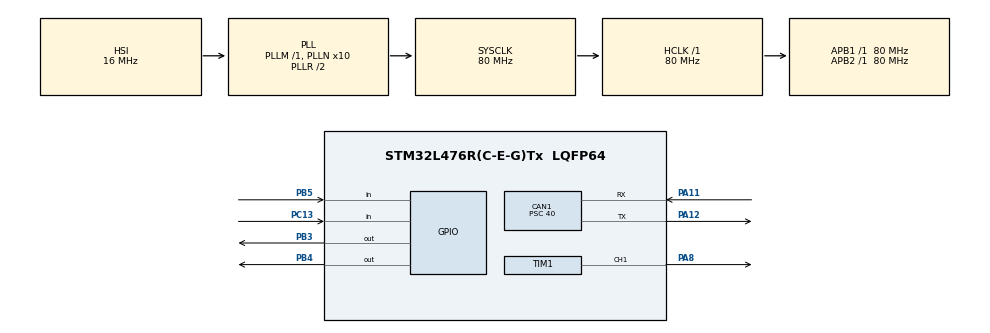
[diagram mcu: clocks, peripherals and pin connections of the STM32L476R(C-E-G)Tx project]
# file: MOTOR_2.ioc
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CAN1.BS1=CAN_BS1_2TQ
CAN1.BS2=CAN_BS2_1TQ
CAN1.CalculateBaudRate=500000
CAN1.CalculateTimeBit=2000.00
CAN1.CalculateTimeQuantum=500.0
CAN1.Prescaler=40
Dma.Request0=TIM1_CH1
Dma.TIM1_CH1.0.Direction=DMA_MEMORY_TO_PERIPH
Dma.TIM1_CH1.0.Instance=DMA1_Channel2
Dma.TIM1_CH1.0.MemDataAlignment=DMA_MDATAALIGN_HALFWORD
Dma.TIM1_CH1.0.MemInc=DMA_MINC_ENABLE
Dma.TIM1_CH1.0.Mode=DMA_NORMAL
Dma.TIM1_CH1.0.PeriphDataAlignment=DMA_PDATAALIGN_HALFWORD
Dma.TIM1_CH1.0.PeriphInc=DMA_PINC_DISABLE
Dma.TIM1_CH1.0.Priority=DMA_PRIORITY_LOW
FREERTOS.Mutexes01=SimpMUTEX,Dynamic,NULL
FREERTOS.Tasks01=defaultTask,0,128,StartDefaultTask,Default,NULL,Dynamic,NULL,NULL;LPT,-1,128,StartLPT,Default,NULL,Dynamic,NULL,NULL;HPT,1,128,StartHPT,Default,NULL,Dynamic,NULL,NULL
Mcu.Family=STM32L4
Mcu.Name=STM32L476R(C-E-G)Tx
Mcu.Package=LQFP64
NVIC.CAN1_RX0_IRQn=true\:5\:0\:false\:false\:true\:true\:true\:true
NVIC.CAN1_RX1_IRQn=true\:5\:0\:false\:false\:true\:true\:true\:true
NVIC.DMA1_Channel2_IRQn=true\:5\:0\:false\:false\:true\:true\:false\:true
NVIC.PriorityGroup=NVIC_PRIORITYGROUP_4
NVIC.TIM6_DAC_IRQn=true\:0\:0\:false\:false\:true\:false\:false\:true
NVIC.TimeBase=TIM6_DAC_IRQn
NVIC.TimeBaseIP=TIM6
PA11.Mode=CAN_Activate
PA11.Signal=CAN1_RX
PA12.Mode=CAN_Activate
PA12.Signal=CAN1_TX
PA13\ (JTMS-SWDIO).Mode=Serial_Wire
PA13\ (JTMS-SWDIO).Signal=SYS_JTMS-SWDIO
PA14\ (JTCK-SWCLK).Mode=Serial_Wire
PA14\ (JTCK-SWCLK).Signal=SYS_JTCK-SWCLK
PA8.Signal=S_TIM1_CH1
PB3\ (JTDO-TRACESWO).Signal=GPIO_Output
PB4\ (NJTRST).Signal=GPIO_Output
PB5.Signal=GPIO_Input
PC13.Signal=GPIO_Input
ProjectManager.HeapSize=0x200
ProjectManager.StackSize=0x400
ProjectManager.TargetToolchain=TrueSTUDIO
RCC.ADCFreq_Value=64000000
RCC.AHBFreq_Value=80000000
RCC.APB1Freq_Value=80000000
RCC.APB1TimFreq_Value=80000000
RCC.APB2Freq_Value=80000000
RCC.APB2TimFreq_Value=80000000
RCC.CortexFreq_Value=80000000
RCC.HCLKFreq_Value=80000000
RCC.HSE_VALUE=8000000
RCC.HSI_VALUE=16000000
RCC.LSE_VALUE=32768
RCC.MSI_VALUE=4000000
RCC.PLLN=10
RCC.PLLSourceVirtual=RCC_PLLSOURCE_HSI
RCC.SYSCLKFreq_VALUE=80000000
RCC.SYSCLKSource=RCC_SYSCLKSOURCE_PLLCLK
RCC.USBFreq_Value=64000000
RCC.VCOOutputFreq_Value=160000000
SH.S_TIM1_CH1.0=TIM1_CH1,PWM Generation1 CH1
TIM1.Channel-PWM\ Generation1\ CH1=TIM_CHANNEL_1
TIM1.Period=100-1
VP_FREERTOS_VS_CMSIS_V1.Mode=CMSIS_V1
VP_SYS_VS_tim6.Mode=TIM6
VP_TIM1_VS_ClockSourceINT.Mode=Internal
board=custom

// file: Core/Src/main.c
/* USER CODE BEGIN Header */
/**
  ******************************************************************************
  * @file           : main.c
  * @brief          : Main program body
  ******************************************************************************
  * @attention
  *
  * <h2><center>&copy; Copyright (c) 2021 STMicroelectronics.
  * All rights reserved.</center></h2>
  *
  * This software component is licensed by ST under Ultimate Liberty license
  * SLA0044, the "License"; You may not use this file except in compliance with
  * the License. You may obtain a copy of the License at:
  *                             www.st.com/SLA0044
  *
  ******************************************************************************
  */
/* USER CODE END Header */
#include "main.h"
#include "cmsis_os.h"

/* USER CODE BEGIN Includes */
#include "stdio.h"

/* USER CODE END Includes */

CAN_HandleTypeDef hcan1;

TIM_HandleTypeDef htim1;
DMA_HandleTypeDef hdma_tim1_ch1;

osThreadId defaultTaskHandle;
osThreadId LPTHandle;
osThreadId HPTHandle;
osMutexId SimpMUTEXHandle;

void SystemClock_Config(void);
static void MX_GPIO_Init(void);
static void MX_DMA_Init(void);
static void MX_CAN1_Init(void);
static void MX_TIM1_Init(void);
void StartDefaultTask(void const * argument);
void StartLPT(void const * argument);
void StartHPT(void const * argument);

/* USER CODE BEGIN 0 */
//==================CAN==========================================================================================================
CAN_TxHeaderTypeDef TxHeader;
CAN_RxHeaderTypeDef RxHeader;
uint32_t TxMailbox;
uint8_t TxData[8];
uint8_t RxData[8];

uint16_t CAN_ID = 0x001;//這塊板子的ID
int datacheck = 0;
int CAN_Neopixel = 0;
int CAN_Motor = 0;

void HAL_CAN_RxFifo0MsgPendingCallback(CAN_HandleTypeDef *hcan)
{
	if (HAL_CAN_GetRxMessage(hcan, CAN_RX_FIFO0, &RxHeader, RxData) != HAL_OK)
		  {
			  //HAL_UART_Transmit(&huart2, (uint8_t *)"Receiving Data Failed\r\n\r\n", 24, 1000);
		      Error_Handler();
		  }
	 int error_message = 0;
		  if (RxHeader.StdId == CAN_ID && RxData[1] == 0x1A) //接收到資料(一對一)
		  {
			  if(RxData[2] == 0x03 && RxData[3] >= 0x00 && RxData[3] <= 0x03 && RxData[4] >= 0x00 && RxData[4] <= 0x07)//檢查第一組資料是否正確
			  {
				  CAN_Neopixel = 1;
			  }
			  else if(RxData[2] == 0x02 && RxData[3] == 0x00 && RxData[4] >= 0x00 && RxData[4] <= 0x01)//檢查第一組資料(抽屜門)
			  {
				  CAN_Motor = 1;
			  }
			  else if(RxData[2] == 0x00 && RxData[3] == 0x00 && RxData[4] == 0x00)
			  {
			  }
			  else
			  {
				  error_message++;
			  }
			  if(RxData[5] == 0x03 && RxData[6] >= 0x00 && RxData[6] <= 0x03 && RxData[7] >= 0x00 && RxData[7] <= 0x07)//檢查第一組資料是否正確
			  {
				  CAN_Neopixel = 2;
			  }
			  else if(RxData[5] == 0x02 && RxData[6] == 0x00 && RxData[7] >= 0x00 && RxData[7] <= 0x01)//檢查第一組資料(抽屜門)
			  {
				  CAN_Motor = 2;
			  }
			  else if(RxData[5] == 0x00 && RxData[6] == 0x00 && RxData[7] == 0x00)
			  {
			  }
			  else
			  {
				  error_message++;
			  }
			  TxHeader.StdId = 0x010;
			  for(int i=0; i<8; i++)
			  {
				  TxData[i]=RxData[i];
			  }
			  if(error_message>0){
				  TxData[1]=0x1C;
			  }
			  else
			  {
				  TxData[1]=0x1B;
			  }
			  if (HAL_CAN_AddTxMessage(&hcan1, &TxHeader, TxData, &TxMailbox) != HAL_OK)
			  {
				 // HAL_UART_Transmit(&huart2, (uint8_t *)"TxBackError\r\n\r\n", 15, 1000);
			     Error_Handler ();
			  }
		  }

}

void weidelay(int index)
{
	for (int i=0;i<index;i++)
	{

	}
}

//====================NeoPixel=================================================================================================
#define MAX_LED 39
#define USE_BRIGHTNESS 1
int datasentflag=0;
uint8_t LED_Data[MAX_LED][5];
uint8_t LED_Mod[MAX_LED][5];  // for brightness
uint16_t pwmData[(32*MAX_LED)+50];
int ledcolor=0;
int ledcolor_buffer=0;
int ledcolor_table[8][3]={{0,0,0},{255,255,255},{255,0,0},{0,255,0},{0,0,255},{255,0,255},{255,255,0},{0,255,255}};
int ledmode=0;
void Set_LED (int LEDnum, int Red, int Green, int Blue)
{
	LED_Data[LEDnum][0] = LEDnum;
	LED_Data[LEDnum][1] = Green;
	LED_Data[LEDnum][2] = Red;
	LED_Data[LEDnum][3] = Blue;
	LED_Data[LEDnum][4] = 0;
}
void Set_Brightness (int brightness)  // 0-45
{
#if USE_BRIGHTNESS
	if (brightness > 45) brightness = 45;
	for (int i=0; i<MAX_LED; i++)
	{
		LED_Mod[i][0] = LED_Data[i][0];
		for (int j=1; j<5; j++)
		{
			LED_Mod[i][j] = brightness!=45?LED_Data[i][j]*brightness/45:LED_Data[i][j];
		}
	}
#endif
}
void WS2812_Send (void)
{
	uint32_t indx=0;
	uint32_t color;
	for (int i= 0; i<MAX_LED; i++)
	{
		#if USE_BRIGHTNESS
				color = ((LED_Mod[i][1]<<24) | (LED_Mod[i][2]<<16) | (LED_Mod[i][3]<<8));
		#else
				color = ((LED_Data[i][1]<<24) | (LED_Data[i][2]<<16) | (LED_Data[i][3]<<8));
		#endif
		for (int j=31; j>=0; j--)
		{
			if (color&(1<<j))pwmData[indx] = 64;//    64/100
			else pwmData[indx] = 32;//   32/100
			indx++;
		}
	}
	for (int i=0; i<50; i++)
	{
		pwmData[indx] = 0;
		indx++;
	}
	HAL_TIM_PWM_Start_DMA(&htim1, TIM_CHANNEL_1, (uint32_t *)pwmData, indx);
	while (!datasentflag){};
	datasentflag = 0;
}
void HAL_TIM_PWM_PulseFinishedCallback(TIM_HandleTypeDef *htim)
{
	HAL_TIM_PWM_Stop_DMA(&htim1, TIM_CHANNEL_1);
	datasentflag=1;
}
//====================NeoPixel=====================================================================================================
/* USER CODE END 0 */

int main(void)
{

  /* MCU Configuration--------------------------------------------------------*/

  /* Reset of all peripherals, Initializes the Flash interface and the Systick. */
  HAL_Init();

  /* Configure the system clock */
  SystemClock_Config();

  /* Initialize all configured peripherals */
  MX_GPIO_Init();
  MX_DMA_Init();
  MX_CAN1_Init();
  MX_TIM1_Init();
  /* USER CODE BEGIN 2 */

  HAL_CAN_Start(&hcan1);
  HAL_CAN_ActivateNotification(&hcan1, CAN_IT_RX_FIFO0_MSG_PENDING);
  TxHeader.DLC = 1;
  TxHeader.ExtId = 0;
  TxHeader.IDE = CAN_ID_STD;
  TxHeader.RTR = CAN_RTR_DATA;
  TxHeader.StdId = 0x103;
  TxHeader.TransmitGlobalTime = DISABLE;
  TxData[0] = 0xf3;

  /* USER CODE END 2 */

  /* Create the mutex(es) */
  /* definition and creation of SimpMUTEX */
  osMutexDef(SimpMUTEX);
  SimpMUTEXHandle = osMutexCreate(osMutex(SimpMUTEX));

  /* Create the thread(s) */
  /* definition and creation of defaultTask */
  osThreadDef(defaultTask, StartDefaultTask, osPriorityNormal, 0, 128);
  defaultTaskHandle = osThreadCreate(osThread(defaultTask), NULL);

  /* definition and creation of LPT */
  osThreadDef(LPT, StartLPT, osPriorityBelowNormal, 0, 128);
  LPTHandle = osThreadCreate(osThread(LPT), NULL);

  /* definition and creation of HPT */
  osThreadDef(HPT, StartHPT, osPriorityAboveNormal, 0, 128);
  HPTHandle = osThreadCreate(osThread(HPT), NULL);

  /* Start scheduler */
  osKernelStart();

  /* We should never get here as control is now taken by the scheduler */
  /* Infinite loop */
  while (1)
  {

  }
}

void SystemClock_Config(void)
{
  RCC_OscInitTypeDef RCC_OscInitStruct = {0};
  RCC_ClkInitTypeDef RCC_ClkInitStruct = {0};

  /** Initializes the RCC Oscillators according to the specified parameters
  * in the RCC_OscInitTypeDef structure.
  */
  RCC_OscInitStruct.OscillatorType = RCC_OSCILLATORTYPE_HSI;
  RCC_OscInitStruct.HSIState = RCC_HSI_ON;
  RCC_OscInitStruct.HSICalibrationValue = RCC_HSICALIBRATION_DEFAULT;
  RCC_OscInitStruct.PLL.PLLState = RCC_PLL_ON;
  RCC_OscInitStruct.PLL.PLLSource = RCC_PLLSOURCE_HSI;
  RCC_OscInitStruct.PLL.PLLM = 1;
  RCC_OscInitStruct.PLL.PLLN = 10;
  RCC_OscInitStruct.PLL.PLLP = RCC_PLLP_DIV7;
  RCC_OscInitStruct.PLL.PLLQ = RCC_PLLQ_DIV2;
  RCC_OscInitStruct.PLL.PLLR = RCC_PLLR_DIV2;
  if (HAL_RCC_OscConfig(&RCC_OscInitStruct) != HAL_OK)
  {
    Error_Handler();
  }
  /** Initializes the CPU, AHB and APB buses clocks
  */
  RCC_ClkInitStruct.ClockType = RCC_CLOCKTYPE_HCLK|RCC_CLOCKTYPE_SYSCLK
                              |RCC_CLOCKTYPE_PCLK1|RCC_CLOCKTYPE_PCLK2;
  RCC_ClkInitStruct.SYSCLKSource = RCC_SYSCLKSOURCE_PLLCLK;
  RCC_ClkInitStruct.AHBCLKDivider = RCC_SYSCLK_DIV1;
  RCC_ClkInitStruct.APB1CLKDivider = RCC_HCLK_DIV1;
  RCC_ClkInitStruct.APB2CLKDivider = RCC_HCLK_DIV1;

  if (HAL_RCC_ClockConfig(&RCC_ClkInitStruct, FLASH_LATENCY_4) != HAL_OK)
  {
    Error_Handler();
  }
  /** Configure the main internal regulator output voltage
  */
  if (HAL_PWREx_ControlVoltageScaling(PWR_REGULATOR_VOLTAGE_SCALE1) != HAL_OK)
  {
    Error_Handler();
  }
}

static void MX_CAN1_Init(void)
{

  hcan1.Instance = CAN1;
  hcan1.Init.Prescaler = 40;
  hcan1.Init.Mode = CAN_MODE_NORMAL;
  hcan1.Init.SyncJumpWidth = CAN_SJW_1TQ;
  hcan1.Init.TimeSeg1 = CAN_BS1_2TQ;
  hcan1.Init.TimeSeg2 = CAN_BS2_1TQ;
  hcan1.Init.TimeTriggeredMode = DISABLE;
  hcan1.Init.AutoBusOff = DISABLE;
  hcan1.Init.AutoWakeUp = DISABLE;
  hcan1.Init.AutoRetransmission = DISABLE;
  hcan1.Init.ReceiveFifoLocked = DISABLE;
  hcan1.Init.TransmitFifoPriority = DISABLE;
  if (HAL_CAN_Init(&hcan1) != HAL_OK)
  {
    Error_Handler();
  }
  /* USER CODE BEGIN CAN1_Init 2 */
  CAN_FilterTypeDef canfilterconfig;
  canfilterconfig.FilterActivation = CAN_FILTER_ENABLE;
  canfilterconfig.FilterBank = 10;
  canfilterconfig.FilterFIFOAssignment = CAN_RX_FIFO0;
  canfilterconfig.FilterIdHigh = 0x001<<5;
  canfilterconfig.FilterIdLow = 0x0000;
  canfilterconfig.FilterMaskIdHigh = 0x001<<5;
  canfilterconfig.FilterMaskIdLow = 0x0000;
  canfilterconfig.FilterMode = CAN_FILTERMODE_IDMASK;
  canfilterconfig.FilterScale = CAN_FILTERSCALE_32BIT;
  canfilterconfig.SlaveStartFilterBank = 0;
  HAL_CAN_ConfigFilter(&hcan1, &canfilterconfig);
  /* USER CODE END CAN1_Init 2 */

}

static void MX_TIM1_Init(void)
{

  TIM_ClockConfigTypeDef sClockSourceConfig = {0};
  TIM_MasterConfigTypeDef sMasterConfig = {0};
  TIM_OC_InitTypeDef sConfigOC = {0};
  TIM_BreakDeadTimeConfigTypeDef sBreakDeadTimeConfig = {0};

  htim1.Instance = TIM1;
  htim1.Init.Prescaler = 0;
  htim1.Init.CounterMode = TIM_COUNTERMODE_UP;
  htim1.Init.Period = 100-1;
  htim1.Init.ClockDivision = TIM_CLOCKDIVISION_DIV1;
  htim1.Init.RepetitionCounter = 0;
  htim1.Init.AutoReloadPreload = TIM_AUTORELOAD_PRELOAD_DISABLE;
  if (HAL_TIM_Base_Init(&htim1) != HAL_OK)
  {
    Error_Handler();
  }
  sClockSourceConfig.ClockSource = TIM_CLOCKSOURCE_INTERNAL;
  if (HAL_TIM_ConfigClockSource(&htim1, &sClockSourceConfig) != HAL_OK)
  {
    Error_Handler();
  }
  if (HAL_TIM_PWM_Init(&htim1) != HAL_OK)
  {
    Error_Handler();
  }
  sMasterConfig.MasterOutputTrigger = TIM_TRGO_RESET;
  sMasterConfig.MasterOutputTrigger2 = TIM_TRGO2_RESET;
  sMasterConfig.MasterSlaveMode = TIM_MASTERSLAVEMODE_DISABLE;
  if (HAL_TIMEx_MasterConfigSynchronization(&htim1, &sMasterConfig) != HAL_OK)
  {
    Error_Handler();
  }
  sConfigOC.OCMode = TIM_OCMODE_PWM1;
  sConfigOC.Pulse = 0;
  sConfigOC.OCPolarity = TIM_OCPOLARITY_HIGH;
  sConfigOC.OCNPolarity = TIM_OCNPOLARITY_HIGH;
  sConfigOC.OCFastMode = TIM_OCFAST_DISABLE;
  sConfigOC.OCIdleState = TIM_OCIDLESTATE_RESET;
  sConfigOC.OCNIdleState = TIM_OCNIDLESTATE_RESET;
  if (HAL_TIM_PWM_ConfigChannel(&htim1, &sConfigOC, TIM_CHANNEL_1) != HAL_OK)
  {
    Error_Handler();
  }
  sBreakDeadTimeConfig.OffStateRunMode = TIM_OSSR_DISABLE;
  sBreakDeadTimeConfig.OffStateIDLEMode = TIM_OSSI_DISABLE;
  sBreakDeadTimeConfig.LockLevel = TIM_LOCKLEVEL_OFF;
  sBreakDeadTimeConfig.DeadTime = 0;
  sBreakDeadTimeConfig.BreakState = TIM_BREAK_DISABLE;
  sBreakDeadTimeConfig.BreakPolarity = TIM_BREAKPOLARITY_HIGH;
  sBreakDeadTimeConfig.BreakFilter = 0;
  sBreakDeadTimeConfig.Break2State = TIM_BREAK2_DISABLE;
  sBreakDeadTimeConfig.Break2Polarity = TIM_BREAK2POLARITY_HIGH;
  sBreakDeadTimeConfig.Break2Filter = 0;
  sBreakDeadTimeConfig.AutomaticOutput = TIM_AUTOMATICOUTPUT_DISABLE;
  if (HAL_TIMEx_ConfigBreakDeadTime(&htim1, &sBreakDeadTimeConfig) != HAL_OK)
  {
    Error_Handler();
  }
  HAL_TIM_MspPostInit(&htim1);

}

static void MX_DMA_Init(void)
{

  /* DMA controller clock enable */
  __HAL_RCC_DMA1_CLK_ENABLE();

  /* DMA interrupt init */
  /* DMA1_Channel2_IRQn interrupt configuration */
  HAL_NVIC_SetPriority(DMA1_Channel2_IRQn, 5, 0);
  HAL_NVIC_EnableIRQ(DMA1_Channel2_IRQn);

}

static void MX_GPIO_Init(void)
{
  GPIO_InitTypeDef GPIO_InitStruct = {0};

  /* GPIO Ports Clock Enable */
  __HAL_RCC_GPIOC_CLK_ENABLE();
  __HAL_RCC_GPIOA_CLK_ENABLE();
  __HAL_RCC_GPIOB_CLK_ENABLE();

  /*Configure GPIO pin Output Level */
  HAL_GPIO_WritePin(GPIOB, GPIO_PIN_3|GPIO_PIN_4, GPIO_PIN_RESET);

  /*Configure GPIO pin : PC13 */
  GPIO_InitStruct.Pin = GPIO_PIN_13;
  GPIO_InitStruct.Mode = GPIO_MODE_INPUT;
  GPIO_InitStruct.Pull = GPIO_NOPULL;
  HAL_GPIO_Init(GPIOC, &GPIO_InitStruct);

  /*Configure GPIO pins : PB3 PB4 */
  GPIO_InitStruct.Pin = GPIO_PIN_3|GPIO_PIN_4;
  GPIO_InitStruct.Mode = GPIO_MODE_OUTPUT_PP;
  GPIO_InitStruct.Pull = GPIO_NOPULL;
  GPIO_InitStruct.Speed = GPIO_SPEED_FREQ_LOW;
  HAL_GPIO_Init(GPIOB, &GPIO_InitStruct);

  /*Configure GPIO pin : PB5 */
  GPIO_InitStruct.Pin = GPIO_PIN_5;
  GPIO_InitStruct.Mode = GPIO_MODE_INPUT;
  GPIO_InitStruct.Pull = GPIO_NOPULL;
  HAL_GPIO_Init(GPIOB, &GPIO_InitStruct);

}

void StartDefaultTask(void const * argument)
{
  /* USER CODE BEGIN 5 */

  /* Infinite loop */
  for(;;)
  {
	  if (CAN_Motor==1 || CAN_Motor==2)
	  {
		  if (RxData[4] == 0x01)		//open door
		  {
			  HAL_GPIO_WritePin(GPIOB,GPIO_PIN_4,GPIO_PIN_RESET);
			  		  for (int i=0;i<30000;i++)
			  		  {
			  		  	HAL_GPIO_WritePin(GPIOB,GPIO_PIN_3,GPIO_PIN_SET);
			  		  	//HAL_Delay(0.0001);
			  		  	weidelay(500);
			  		  	HAL_GPIO_WritePin(GPIOB,GPIO_PIN_3,GPIO_PIN_RESET);
			  		  	//HAL_Delay(0.0001);
			  		  	weidelay(500);
			  		  }
			  CAN_Motor=69;
		  }
		  else if (RxData[4] == 0x00)		//close door
		  {

			  HAL_GPIO_WritePin(GPIOB,GPIO_PIN_4,GPIO_PIN_SET);
			  	    while (!HAL_GPIO_ReadPin(GPIOB,GPIO_PIN_5))
			  	    {
			  	    	HAL_GPIO_WritePin(GPIOB,GPIO_PIN_3,GPIO_PIN_SET);
			  	    	//HAL_Delay(1);
			  			weidelay(500);
			  	    	HAL_GPIO_WritePin(GPIOB,GPIO_PIN_3,GPIO_PIN_RESET);
			  	    	//HAL_Delay(1);
			  			weidelay(500);
			  	    	if (HAL_GPIO_ReadPin(GPIOB,GPIO_PIN_5))
			  	    	{
			  	    		break;
			  	    	}
			  	    }
			  	  CAN_Motor=69;
		  }

	  }

    osDelay(1);
  }
  /* USER CODE END 5 */
}

void StartLPT(void const * argument)
{
  /* USER CODE BEGIN StartLPT */
	/* Infinite loop */
		  for(;;)
		  {
			  if(ledcolor_buffer!=ledcolor)
			  {
				  ledcolor_buffer=ledcolor;
				  for(int i=0;i<MAX_LED;i++)
				  {
					  Set_LED(i, ledcolor_table[ledcolor_buffer][0], ledcolor_table[ledcolor_buffer][1], ledcolor_table[ledcolor_buffer][2]);
				  }
			  }
			  if(CAN_Neopixel)
			  {
//				  char *str1 = "Receive the data\r\n";
//				  HAL_UART_Transmit(&huart2,(uint8_t *) str1, strlen (str1), 100);
				  ledmode=RxData[3*CAN_Neopixel];//3 or 6
				  ledcolor=RxData[3*CAN_Neopixel+1];//4 or 7
				  CAN_Neopixel = 0;
			  }
		    osDelay(10);
		  }
  /* USER CODE END StartLPT */
}

void StartHPT(void const * argument)
{
  /* USER CODE BEGIN StartHPT */

	  /* USER CODE BEGIN 5 */
		int breath_bright = 0;
		int breath_u1d0 = 1;
		  for(int i=0;i<MAX_LED;i++)
		  {
			  Set_LED(i, ledcolor_table[ledcolor_buffer][0], ledcolor_table[ledcolor_buffer][1], ledcolor_table[ledcolor_buffer][2]);
		  }
		/* Infinite loop */
		for(;;)
		{
			if(ledmode <= 0x02)
			{
				  Set_Brightness(ledmode*10);//正常要20但亮度不明顯
			}
			else if(ledmode == 0x03)
			{
				if(breath_u1d0)
				{
					breath_bright++;
					breath_u1d0=breath_bright<20;
				}
				else
				{
					breath_bright--;
					breath_u1d0=!(breath_bright>0);
				}
				Set_Brightness(breath_bright);
			}
				WS2812_Send();
				osDelay (200);
		}

	//=====================Task=======================
  /* USER CODE END StartHPT */
}

 /**
  * @brief  Period elapsed callback in non blocking mode
  * @note   This function is called  when TIM6 interrupt took place, inside
  * HAL_TIM_IRQHandler(). It makes a direct call to HAL_IncTick() to increment
  * a global variable "uwTick" used as application time base.
  * @param  htim : TIM handle
  * @retval None
  */
void HAL_TIM_PeriodElapsedCallback(TIM_HandleTypeDef *htim)
{
  if (htim->Instance == TIM6) {
    HAL_IncTick();
  }
}

void Error_Handler(void)
{
  __disable_irq();
  while (1)
  {
  }
}

/************************ (C) COPYRIGHT STMicroelectronics *****END OF FILE****/
